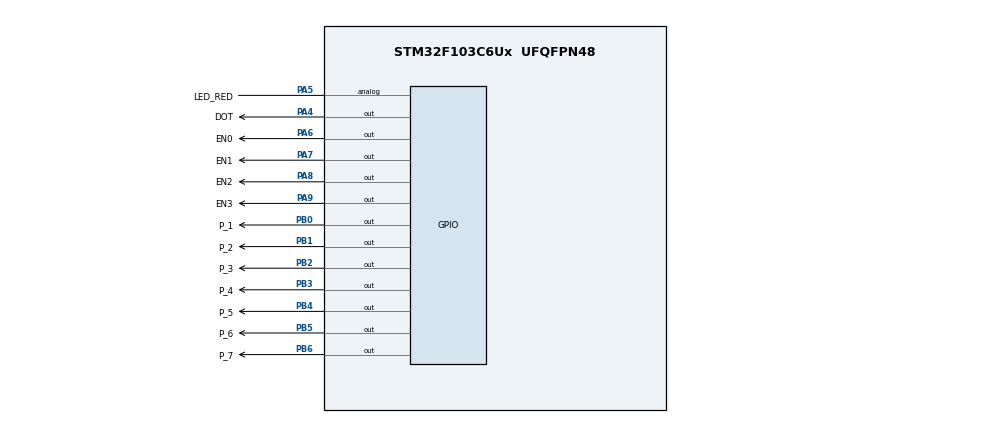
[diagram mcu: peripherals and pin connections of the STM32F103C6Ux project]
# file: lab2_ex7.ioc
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Mcu.Family=STM32F1
Mcu.Name=STM32F103C6Ux
Mcu.Package=UFQFPN48
NVIC.PriorityGroup=NVIC_PRIORITYGROUP_4
NVIC.TIM2_IRQn=true\:0\:0\:false\:false\:true\:true\:true\:true
PA4.GPIO_Label=DOT
PA4.Signal=GPIO_Output
PA5.GPIO_Label=LED_RED
PA5.Signal=GPIO_Analog
PA6.GPIO_Label=EN0
PA6.Signal=GPIO_Output
PA7.GPIO_Label=EN1
PA7.Signal=GPIO_Output
PA8.GPIO_Label=EN2
PA8.Signal=GPIO_Output
PA9.GPIO_Label=EN3
PA9.Signal=GPIO_Output
PB0.GPIO_Label=P_1
PB0.Signal=GPIO_Output
PB1.GPIO_Label=P_2
PB1.Signal=GPIO_Output
PB2.GPIO_Label=P_3
PB2.Signal=GPIO_Output
PB3.GPIO_Label=P_4
PB3.Signal=GPIO_Output
PB4.GPIO_Label=P_5
PB4.Signal=GPIO_Output
PB5.GPIO_Label=P_6
PB5.Signal=GPIO_Output
PB6.GPIO_Label=P_7
PB6.Signal=GPIO_Output
ProjectManager.HeapSize=0x200
ProjectManager.StackSize=0x400
ProjectManager.TargetToolchain=STM32CubeIDE
RCC.APB1Freq_Value=8000000
RCC.APB2Freq_Value=8000000
TIM2.Period=9
TIM2.Prescaler=7999
VP_TIM2_VS_ClockSourceINT.Mode=Internal
board=custom

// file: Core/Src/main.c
/* USER CODE BEGIN Header */
/**
  ******************************************************************************
  * @file           : main.c
  * @brief          : Main program body
  ******************************************************************************
  * @attention
  *
  * Copyright (c) 2022 STMicroelectronics.
  * All rights reserved.
  *
  * This software is licensed under terms that can be found in the LICENSE file
  * in the root directory of this software component.
  * If no LICENSE file comes with this software, it is provided AS-IS.
  *
  ******************************************************************************
  */
/* USER CODE END Header */
#include "main.h"
#include "timer.h"

TIM_HandleTypeDef htim2;

void SystemClock_Config(void);
static void MX_GPIO_Init(void);
static void MX_TIM2_Init(void);

/* USER CODE BEGIN 0 */
void display7SEG(int timer)
{
	if(timer==0)
	{
		HAL_GPIO_WritePin(P_1_GPIO_Port, P_1_Pin, RESET);
		HAL_GPIO_WritePin(P_2_GPIO_Port, P_2_Pin, RESET);
		HAL_GPIO_WritePin(P_3_GPIO_Port, P_3_Pin, RESET);
		HAL_GPIO_WritePin(P_4_GPIO_Port, P_4_Pin, RESET);
		HAL_GPIO_WritePin(P_5_GPIO_Port, P_5_Pin, RESET);
		HAL_GPIO_WritePin(P_6_GPIO_Port, P_6_Pin, RESET);
		HAL_GPIO_WritePin(P_7_GPIO_Port, P_7_Pin, SET);
	}
	if(timer==1)
		{
			HAL_GPIO_WritePin(P_1_GPIO_Port, P_1_Pin, SET);
			HAL_GPIO_WritePin(P_2_GPIO_Port, P_2_Pin, RESET);
			HAL_GPIO_WritePin(P_3_GPIO_Port, P_3_Pin, RESET);
			HAL_GPIO_WritePin(P_4_GPIO_Port, P_4_Pin, SET);
			HAL_GPIO_WritePin(P_5_GPIO_Port, P_5_Pin, SET);
			HAL_GPIO_WritePin(P_6_GPIO_Port, P_6_Pin, SET);
			HAL_GPIO_WritePin(P_7_GPIO_Port, P_7_Pin, SET);
		}
	if(timer==2)
		{
			HAL_GPIO_WritePin(P_1_GPIO_Port, P_1_Pin, RESET);
			HAL_GPIO_WritePin(P_2_GPIO_Port, P_2_Pin, RESET);
			HAL_GPIO_WritePin(P_3_GPIO_Port, P_3_Pin, SET);
			HAL_GPIO_WritePin(P_4_GPIO_Port, P_4_Pin, RESET);
			HAL_GPIO_WritePin(P_5_GPIO_Port, P_5_Pin, RESET);
			HAL_GPIO_WritePin(P_6_GPIO_Port, P_6_Pin, SET);
			HAL_GPIO_WritePin(P_7_GPIO_Port, P_7_Pin, RESET);
		}
	if(timer==3)
		{
			HAL_GPIO_WritePin(P_1_GPIO_Port, P_1_Pin, RESET);
			HAL_GPIO_WritePin(P_2_GPIO_Port, P_2_Pin, RESET);
			HAL_GPIO_WritePin(P_3_GPIO_Port, P_3_Pin, RESET);
			HAL_GPIO_WritePin(P_4_GPIO_Port, P_4_Pin, RESET);
			HAL_GPIO_WritePin(P_5_GPIO_Port, P_5_Pin, SET);
			HAL_GPIO_WritePin(P_6_GPIO_Port, P_6_Pin, SET);
			HAL_GPIO_WritePin(P_7_GPIO_Port, P_7_Pin, RESET);
		}
	if(timer==4)
		{
			HAL_GPIO_WritePin(P_1_GPIO_Port, P_1_Pin, SET);
			HAL_GPIO_WritePin(P_2_GPIO_Port, P_2_Pin, RESET);
			HAL_GPIO_WritePin(P_3_GPIO_Port, P_3_Pin, RESET);
			HAL_GPIO_WritePin(P_4_GPIO_Port, P_4_Pin, SET);
			HAL_GPIO_WritePin(P_5_GPIO_Port, P_5_Pin, SET);
			HAL_GPIO_WritePin(P_6_GPIO_Port, P_6_Pin, RESET);
			HAL_GPIO_WritePin(P_7_GPIO_Port, P_7_Pin, RESET);
		}
	if(timer==5)
		{
			HAL_GPIO_WritePin(P_1_GPIO_Port, P_1_Pin, RESET);
			HAL_GPIO_WritePin(P_2_GPIO_Port, P_2_Pin, SET);
			HAL_GPIO_WritePin(P_3_GPIO_Port, P_3_Pin, RESET);
			HAL_GPIO_WritePin(P_4_GPIO_Port, P_4_Pin, RESET);
			HAL_GPIO_WritePin(P_5_GPIO_Port, P_5_Pin, SET);
			HAL_GPIO_WritePin(P_6_GPIO_Port, P_6_Pin, RESET);
			HAL_GPIO_WritePin(P_7_GPIO_Port, P_7_Pin, RESET);
		}
	if(timer==6)
		{
			HAL_GPIO_WritePin(P_1_GPIO_Port, P_1_Pin, RESET);
			HAL_GPIO_WritePin(P_2_GPIO_Port, P_2_Pin, SET);
			HAL_GPIO_WritePin(P_3_GPIO_Port, P_3_Pin, RESET);
			HAL_GPIO_WritePin(P_4_GPIO_Port, P_4_Pin, RESET);
			HAL_GPIO_WritePin(P_5_GPIO_Port, P_5_Pin, RESET);
			HAL_GPIO_WritePin(P_6_GPIO_Port, P_6_Pin, RESET);
			HAL_GPIO_WritePin(P_7_GPIO_Port, P_7_Pin, RESET);
		}
	if(timer==7)
		{
			HAL_GPIO_WritePin(P_1_GPIO_Port, P_1_Pin, RESET);
			HAL_GPIO_WritePin(P_2_GPIO_Port, P_2_Pin, RESET);
			HAL_GPIO_WritePin(P_3_GPIO_Port, P_3_Pin, RESET);
			HAL_GPIO_WritePin(P_4_GPIO_Port, P_4_Pin, SET);
			HAL_GPIO_WritePin(P_5_GPIO_Port, P_5_Pin, SET);
			HAL_GPIO_WritePin(P_6_GPIO_Port, P_6_Pin, SET);
			HAL_GPIO_WritePin(P_7_GPIO_Port, P_7_Pin, SET);
		}
	if(timer==8)
		{
			HAL_GPIO_WritePin(P_1_GPIO_Port, P_1_Pin, RESET);
			HAL_GPIO_WritePin(P_2_GPIO_Port, P_2_Pin, RESET);
			HAL_GPIO_WritePin(P_3_GPIO_Port, P_3_Pin, RESET);
			HAL_GPIO_WritePin(P_4_GPIO_Port, P_4_Pin, RESET);
			HAL_GPIO_WritePin(P_5_GPIO_Port, P_5_Pin, RESET);
			HAL_GPIO_WritePin(P_6_GPIO_Port, P_6_Pin, RESET);
			HAL_GPIO_WritePin(P_7_GPIO_Port, P_7_Pin, RESET);
		}
	if(timer==9)
		{
			HAL_GPIO_WritePin(P_1_GPIO_Port, P_1_Pin, RESET);
			HAL_GPIO_WritePin(P_2_GPIO_Port, P_2_Pin, RESET);
			HAL_GPIO_WritePin(P_3_GPIO_Port, P_3_Pin, RESET);
			HAL_GPIO_WritePin(P_4_GPIO_Port, P_4_Pin, RESET);
			HAL_GPIO_WritePin(P_5_GPIO_Port, P_5_Pin, SET);
			HAL_GPIO_WritePin(P_6_GPIO_Port, P_6_Pin, RESET);
			HAL_GPIO_WritePin(P_7_GPIO_Port, P_7_Pin, RESET);
		}
}

const int MAX_LED = 4;
int index_led = 0;
int led_buffer [4];
void update7SEG ( int index ) {
switch ( index )
	{
	case 0:
		HAL_GPIO_WritePin(EN0_GPIO_Port, EN0_Pin, 0);
		HAL_GPIO_WritePin(EN1_GPIO_Port, EN1_Pin, 1);
		HAL_GPIO_WritePin(EN2_GPIO_Port, EN2_Pin, 1);
		HAL_GPIO_WritePin(EN3_GPIO_Port, EN3_Pin, 1);
		display7SEG(led_buffer[index]);
		break ;
	case 1:
		HAL_GPIO_WritePin(EN0_GPIO_Port, EN0_Pin, 1);
		HAL_GPIO_WritePin(EN1_GPIO_Port, EN1_Pin, 0);
		HAL_GPIO_WritePin(EN2_GPIO_Port, EN2_Pin, 1);
		HAL_GPIO_WritePin(EN3_GPIO_Port, EN3_Pin, 1);
		display7SEG(led_buffer[index]);
		break ;
	case 2:
		HAL_GPIO_WritePin(EN0_GPIO_Port, EN0_Pin, 1);
		HAL_GPIO_WritePin(EN1_GPIO_Port, EN1_Pin, 1);
		HAL_GPIO_WritePin(EN2_GPIO_Port, EN2_Pin, 0);
		HAL_GPIO_WritePin(EN3_GPIO_Port, EN3_Pin, 1);
		display7SEG(led_buffer[index]);
		break ;
	case 3:
		HAL_GPIO_WritePin(EN0_GPIO_Port, EN0_Pin, 1);
		HAL_GPIO_WritePin(EN1_GPIO_Port, EN1_Pin, 1);
		HAL_GPIO_WritePin(EN2_GPIO_Port, EN2_Pin, 1);
		HAL_GPIO_WritePin(EN3_GPIO_Port, EN3_Pin, 0);
		display7SEG(led_buffer[index]);
		break ;
	default :
		break ;
	}
}
void updateClockBuffer(int hour, int minute)
{
	if(minute<=9)
	{
		led_buffer[2]=0;
		led_buffer[3]=minute;
	}
	else{
		led_buffer[2]=minute/10;
		led_buffer[3]=minute%10;
	}

	if(hour<=9)
	{
		led_buffer[0]=0;
		led_buffer[1]=hour;
	}
	else{
		led_buffer[0]=hour/10;
		led_buffer[1]=hour%10;
	}
}
/* USER CODE END 0 */

int main(void)
{

  /* MCU Configuration--------------------------------------------------------*/

  /* Reset of all peripherals, Initializes the Flash interface and the Systick. */
  HAL_Init();

  /* Configure the system clock */
  SystemClock_Config();

  /* Initialize all configured peripherals */
  MX_GPIO_Init();
  MX_TIM2_Init();
  /* USER CODE BEGIN 2 */
  HAL_TIM_Base_Start_IT (& htim2 ) ;
  /* USER CODE END 2 */

  /* Infinite loop */
  /* USER CODE BEGIN WHILE */
  setTimer1(1);
  setTimer2(50);
  setTimer3(1);
  HAL_GPIO_WritePin(EN0_GPIO_Port, EN0_Pin, RESET);
  HAL_GPIO_WritePin(EN1_GPIO_Port, EN1_Pin, SET);
  HAL_GPIO_WritePin(EN2_GPIO_Port, EN2_Pin, SET);
  HAL_GPIO_WritePin(EN3_GPIO_Port, EN3_Pin, SET);
  HAL_GPIO_WritePin(DOT_GPIO_Port, DOT_Pin, RESET);
  int h = 15 , m = 8 , s = 50;
  int EN0 = 1;
  int EN1 = 0;
  int EN2 = 0;
  int EN3 = 0;
  //int index_led = 0;
  while (1)
  {

	 // HAL_Delay(1000);
	  //
	  if(timer1_flag==1)
	  	  {
	  		  setTimer1(100);
	  		  HAL_GPIO_TogglePin(LED_RED_GPIO_Port, LED_RED_Pin);
	  		s ++;
	  		if ( s >= 60)
	  		{
	  			s = 0;
	  			m ++;
	  		}
	  		if( m >= 60)
	  		{
	  			m = 0;
	  			h ++;
	  		}
	  		if( h >=24)
	  		{
	  			h = 0;
	  		}
	  		updateClockBuffer (h, m) ;
	  	  }
	  if(timer2_flag==1)
	  {
		  setTimer2(50);
		  HAL_GPIO_TogglePin(DOT_GPIO_Port, DOT_Pin);
	  }
	  if(timer3_flag==1)
	  {
		  setTimer3(25);
		  if(EN0==1)
		  {
			  EN0=0;
			  EN1=1;
			  EN2=0;
			  EN3=0;
			  update7SEG(index_led++);
		  }
		  else if(EN1==1)
		  {
			  EN0=0;
			  EN1=0;
			  EN2=1;
			  EN3=0;
			  update7SEG(index_led++);
		  }
		  else if(EN2==1)
		  {
			  EN0=0;
			  EN1=0;
			  EN2=0;
			  EN3=1;
			  update7SEG(index_led++);
		  }
		  else if(EN3==1)
		  {
			  EN0=1;
			  EN1=0;
			  EN2=0;
			  EN3=0;
			  update7SEG(index_led);
			  index_led=0;
		  }
	  }
    /* USER CODE END WHILE */

  }
}

void SystemClock_Config(void)
{
  RCC_OscInitTypeDef RCC_OscInitStruct = {0};
  RCC_ClkInitTypeDef RCC_ClkInitStruct = {0};

  /** Initializes the RCC Oscillators according to the specified parameters
  * in the RCC_OscInitTypeDef structure.
  */
  RCC_OscInitStruct.OscillatorType = RCC_OSCILLATORTYPE_HSI;
  RCC_OscInitStruct.HSIState = RCC_HSI_ON;
  RCC_OscInitStruct.HSICalibrationValue = RCC_HSICALIBRATION_DEFAULT;
  RCC_OscInitStruct.PLL.PLLState = RCC_PLL_NONE;
  if (HAL_RCC_OscConfig(&RCC_OscInitStruct) != HAL_OK)
  {
    Error_Handler();
  }

  /** Initializes the CPU, AHB and APB buses clocks
  */
  RCC_ClkInitStruct.ClockType = RCC_CLOCKTYPE_HCLK|RCC_CLOCKTYPE_SYSCLK
                              |RCC_CLOCKTYPE_PCLK1|RCC_CLOCKTYPE_PCLK2;
  RCC_ClkInitStruct.SYSCLKSource = RCC_SYSCLKSOURCE_HSI;
  RCC_ClkInitStruct.AHBCLKDivider = RCC_SYSCLK_DIV1;
  RCC_ClkInitStruct.APB1CLKDivider = RCC_HCLK_DIV1;
  RCC_ClkInitStruct.APB2CLKDivider = RCC_HCLK_DIV1;

  if (HAL_RCC_ClockConfig(&RCC_ClkInitStruct, FLASH_LATENCY_0) != HAL_OK)
  {
    Error_Handler();
  }
}

static void MX_TIM2_Init(void)
{

  TIM_ClockConfigTypeDef sClockSourceConfig = {0};
  TIM_MasterConfigTypeDef sMasterConfig = {0};

  htim2.Instance = TIM2;
  htim2.Init.Prescaler = 7999;
  htim2.Init.CounterMode = TIM_COUNTERMODE_UP;
  htim2.Init.Period = 9;
  htim2.Init.ClockDivision = TIM_CLOCKDIVISION_DIV1;
  htim2.Init.AutoReloadPreload = TIM_AUTORELOAD_PRELOAD_DISABLE;
  if (HAL_TIM_Base_Init(&htim2) != HAL_OK)
  {
    Error_Handler();
  }
  sClockSourceConfig.ClockSource = TIM_CLOCKSOURCE_INTERNAL;
  if (HAL_TIM_ConfigClockSource(&htim2, &sClockSourceConfig) != HAL_OK)
  {
    Error_Handler();
  }
  sMasterConfig.MasterOutputTrigger = TIM_TRGO_RESET;
  sMasterConfig.MasterSlaveMode = TIM_MASTERSLAVEMODE_DISABLE;
  if (HAL_TIMEx_MasterConfigSynchronization(&htim2, &sMasterConfig) != HAL_OK)
  {
    Error_Handler();
  }

}

static void MX_GPIO_Init(void)
{
  GPIO_InitTypeDef GPIO_InitStruct = {0};

  /* GPIO Ports Clock Enable */
  __HAL_RCC_GPIOA_CLK_ENABLE();
  __HAL_RCC_GPIOB_CLK_ENABLE();

  /*Configure GPIO pin Output Level */
  HAL_GPIO_WritePin(GPIOA, DOT_Pin|EN0_Pin|EN1_Pin|EN2_Pin
                          |EN3_Pin, GPIO_PIN_RESET);

  /*Configure GPIO pin Output Level */
  HAL_GPIO_WritePin(GPIOB, P_1_Pin|P_2_Pin|P_3_Pin|P_4_Pin
                          |P_5_Pin|P_6_Pin|P_7_Pin, GPIO_PIN_RESET);

  /*Configure GPIO pins : DOT_Pin EN0_Pin EN1_Pin EN2_Pin
                           EN3_Pin */
  GPIO_InitStruct.Pin = DOT_Pin|EN0_Pin|EN1_Pin|EN2_Pin
                          |EN3_Pin;
  GPIO_InitStruct.Mode = GPIO_MODE_OUTPUT_PP;
  GPIO_InitStruct.Pull = GPIO_NOPULL;
  GPIO_InitStruct.Speed = GPIO_SPEED_FREQ_LOW;
  HAL_GPIO_Init(GPIOA, &GPIO_InitStruct);

  /*Configure GPIO pin : LED_RED_Pin */
  GPIO_InitStruct.Pin = LED_RED_Pin;
  GPIO_InitStruct.Mode = GPIO_MODE_ANALOG;
  HAL_GPIO_Init(LED_RED_GPIO_Port, &GPIO_InitStruct);

  /*Configure GPIO pins : P_1_Pin P_2_Pin P_3_Pin P_4_Pin
                           P_5_Pin P_6_Pin P_7_Pin */
  GPIO_InitStruct.Pin = P_1_Pin|P_2_Pin|P_3_Pin|P_4_Pin
                          |P_5_Pin|P_6_Pin|P_7_Pin;
  GPIO_InitStruct.Mode = GPIO_MODE_OUTPUT_PP;
  GPIO_InitStruct.Pull = GPIO_NOPULL;
  GPIO_InitStruct.Speed = GPIO_SPEED_FREQ_LOW;
  HAL_GPIO_Init(GPIOB, &GPIO_InitStruct);

}

/* USER CODE BEGIN 4 */
void HAL_TIM_PeriodElapsedCallback ( TIM_HandleTypeDef * htim )
{
	timerRun();
}
/* USER CODE END 4 */

void Error_Handler(void)
{
  __disable_irq();
  while (1)
  {
  }
}
